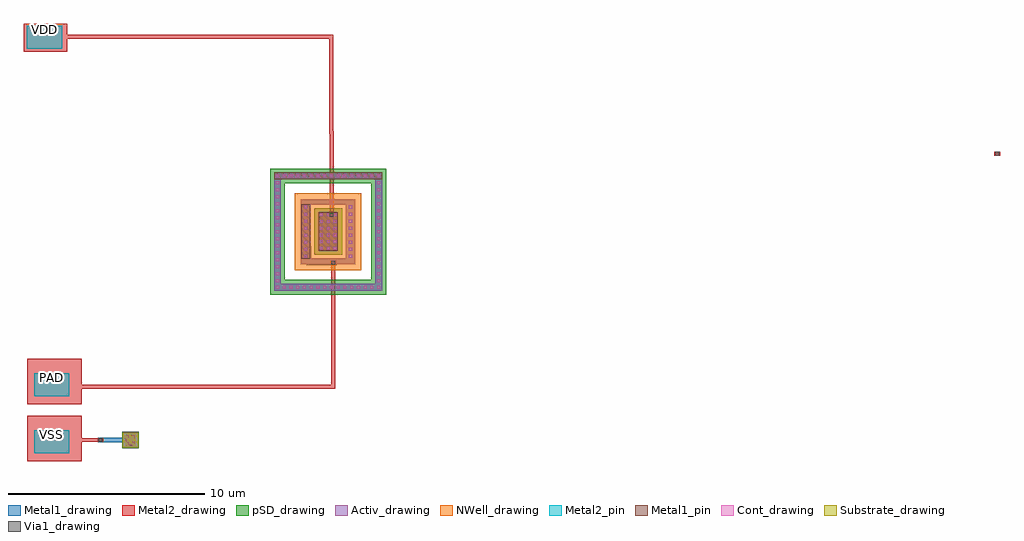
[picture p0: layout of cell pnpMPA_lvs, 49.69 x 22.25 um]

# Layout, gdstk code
import gdstk
lib = gdstk.Library(unit=1e-6, precision=1e-09)
def R(c, l, rs):  # rectangles x0, y0, x1, y1
    for r in rs: c.add(gdstk.rectangle(r[:2], r[2:], *l))
def A(c, l, x, y, w, h, nx, ny, dx, dy):  # array of equal rectangles
    R(c, l, [(x+i*dx, y+j*dy, x+i*dx+w, y+j*dy+h) for i in range(nx) for j in range(ny)])
def P(c, l, *ps):  # polygons
    for p in ps: c.add(gdstk.Polygon(p, *l))
Activ_drawing = (1, 0)
Cont_drawing = (6, 0)
Metal1_drawing = (8, 0)
Metal1_pin = (8, 2)
Metal2_drawing = (10, 0)
Metal2_pin = (10, 2)
pSD_drawing = (14, 0)
Via1_drawing = (19, 0)
NWell_drawing = (31, 0)
Substrate_drawing = (40, 0)

via = lib.new_cell('Via')
R(via, Metal1_drawing, [(-0.145,-0.125,0.145,0.125)])
R(via, Metal2_drawing, [(-0.145,-0.1,0.145,0.1)])
R(via, Via1_drawing, [(-0.095,-0.095,0.095,0.095)])

ptap1 = lib.new_cell('ptap1')
R(ptap1, Activ_drawing, [(0,0,0.78,0.78)])
R(ptap1, Cont_drawing, [(0.14,0.14,0.3,0.3), (0.48,0.14,0.64,0.3), (0.14,0.48,0.3,0.64), (0.48,0.48,0.64,0.64)])
R(ptap1, Metal1_drawing, [(0.14,0.09,0.64,0.69), (0.14,0.14,0.64,0.64)])
R(ptap1, Metal1_pin, [(0.14,0.14,0.64,0.64)])
R(ptap1, pSD_drawing, [(-0.03,-0.03,0.81,0.81)])
R(ptap1, Substrate_drawing, [(0,0,0.78,0.78)])
ptap1.add(gdstk.Label('sub!', (0.39,0.01), layer=63, texttype=0))
ptap1.add(gdstk.Label('sub!', (0.39,0.01), layer=40, texttype=0))

via_6 = lib.new_cell('Via$6')
R(via_6, Metal1_drawing, [(-0.145,-0.105,0.145,0.105)])
R(via_6, Metal2_drawing, [(-0.145,-0.1,0.145,0.1)])
R(via_6, Via1_drawing, [(-0.095,-0.095,0.095,0.095)])

via_1 = lib.new_cell('Via$1')
R(via_1, Metal1_drawing, [(-0.145,-0.105,0.145,0.105)])
R(via_1, Metal2_drawing, [(-0.145,-0.1,0.145,0.1)])
R(via_1, Via1_drawing, [(-0.095,-0.095,0.095,0.095)])

pnpmpa = lib.new_cell('pnpMPA')
R(pnpmpa, Activ_drawing, [(-0.5,-1,0.5,1)])
P(pnpmpa, Activ_drawing, [(-1.39,-1.65),(-1.39,1.36),(-0.89,1.36),(-0.89,-1.36),(0.89,-1.36),(0.89,1.36),(-1.39,1.36),(-1.39,1.65),(1.39,1.65),(1.39,-1.65)],
  [(-2.75,-3.01),(-2.75,2.66),(-2.4,2.66),(-2.4,-2.66),(2.4,-2.66),(2.4,2.66),(-2.75,2.66),(-2.75,3.01),(2.75,3.01),(2.75,-3.01)])
A(pnpmpa, Cont_drawing, -2.315, -2.915, 0.16, 0.16, 3, 2, 0.345, 5.67)
A(pnpmpa, Cont_drawing, -1.285, -2.915, 0.16, 0.16, 3, 2, 0.345, 5.67)
A(pnpmpa, Cont_drawing, -0.255, -2.915, 0.16, 0.16, 3, 2, 0.345, 5.67)
A(pnpmpa, Cont_drawing, 0.775, -2.915, 0.16, 0.16, 3, 2, 0.345, 5.67)
A(pnpmpa, Cont_drawing, 1.805, -2.915, 0.16, 0.16, 3, 2, 0.345, 5.67)
A(pnpmpa, Cont_drawing, -2.655, -2.575, 0.16, 0.16, 1, 4, 0, 0.355)
A(pnpmpa, Cont_drawing, 2.495, -2.575, 0.16, 0.16, 1, 4, 0, 0.355)
A(pnpmpa, Cont_drawing, -1.22, -1.33, 0.16, 0.16, 1, 3, 0, 0.355)
A(pnpmpa, Cont_drawing, 1.06, -1.33, 0.16, 0.16, 1, 3, 0, 0.355)
A(pnpmpa, Cont_drawing, -2.655, -1.15, 0.16, 0.16, 1, 3, 0, 0.355)
A(pnpmpa, Cont_drawing, 2.495, -1.15, 0.16, 0.16, 1, 3, 0, 0.355)
A(pnpmpa, Cont_drawing, -0.43, -0.93, 0.16, 0.16, 3, 6, 0.35, 0.34)
A(pnpmpa, Cont_drawing, -2.655, -0.08, 0.16, 0.16, 1, 4, 0, 0.355)
A(pnpmpa, Cont_drawing, 2.495, -0.08, 0.16, 0.16, 1, 4, 0, 0.355)
A(pnpmpa, Cont_drawing, -2.655, 1.345, 0.16, 0.16, 1, 3, 0, 0.355)
A(pnpmpa, Cont_drawing, 2.495, 1.345, 0.16, 0.16, 1, 3, 0, 0.355)
R(pnpmpa, Cont_drawing, [(-2.655,-2.915,-2.495,-2.755), (-1.22,-0.26,-1.06,-0.1), (1.06,-0.26,1.22,-0.1), (-1.22,0.095,-1.06,0.255), (1.06,0.095,1.22,0.255), (-1.22,0.455,-1.06,0.615), (1.06,0.455,1.22,0.615), (-1.22,0.81,-1.06,0.97), (1.06,0.81,1.22,0.97), (-1.22,1.17,-1.06,1.33), (1.06,1.17,1.22,1.33), (-2.655,2.415,-2.495,2.575), (2.495,2.415,2.655,2.575), (-2.655,2.755,-2.495,2.915)])
R(pnpmpa, Metal1_drawing, [(-2.75,-3.01,2.75,-2.66), (-2.75,-3.01,2.75,-2.66), (-2.75,-2.66,-2.4,2.66), (-2.75,-2.66,-2.4,2.66), (2.4,-2.66,2.75,2.66), (2.4,-2.66,2.75,2.66), (-1.37,-1.38,-0.91,1.38), (-1.37,-1.38,-0.91,1.38), (0.91,-1.38,1.37,1.38), (0.91,-1.38,1.37,1.38), (-0.48,-0.98,0.48,0.98), (-0.48,-0.98,0.48,0.98), (-2.75,2.66,2.75,3.01), (-2.75,2.66,2.75,3.01)])
P(pnpmpa, Metal1_drawing, [(-1.37,-1.63),(-1.37,1.38),(-0.91,1.38),(-0.91,-1.38),(0.91,-1.38),(0.91,1.38),(-1.37,1.38),(-1.37,1.63),(1.37,1.63),(1.37,-1.63)])
R(pnpmpa, Metal1_pin, [(-1.37,-1.38,-0.91,1.38), (-0.48,-0.98,0.48,0.98), (-2.75,2.66,2.75,3.01)])
R(pnpmpa, pSD_drawing, [(-0.71,-1.18,0.71,1.18)])
P(pnpmpa, pSD_drawing, [(-2.95,-3.21),(-2.95,2.46),(-2.2,2.46),(-2.2,-2.46),(2.2,-2.46),(2.2,2.46),(-2.95,2.46),(-2.95,3.21),(2.95,3.21),(2.95,-3.21)])
R(pnpmpa, NWell_drawing, [(-1.7,-1.96,1.7,1.96)])
pnpmpa.add(gdstk.Label('PLUS', (0,0), layer=63, texttype=0))
pnpmpa.add(gdstk.Label('MINUS', (-1.14,0), layer=63, texttype=0))
pnpmpa.add(gdstk.Label('pnpMPA', (0,-2.21), layer=63, texttype=0))
pnpmpa.add(gdstk.Label('TIE', (0,2.835), layer=63, texttype=0))

pnpmpa_lvs = lib.new_cell('pnpMPA_lvs')
R(pnpmpa_lvs, Metal2_drawing, [(183.75,11.88,186.51,14.19), (183.75,14.78,186.51,17.09), (183.58,32.72,185.78,34.13)])
R(pnpmpa_lvs, Metal2_pin, [(184.09,12.27,185.89,13.45), (184.09,15.17,185.89,16.35), (183.73,32.87,185.53,34.05)])
pnpmpa_lvs.add(gdstk.FlexPath([(199.24,24.41),(199.24,23.74)], 0.25, ends="flush", simple_path=True, layer=8, datatype=0))  # Metal1_drawing
pnpmpa_lvs.add(gdstk.FlexPath([(198.09,22.81),(198.09,21.98),(199.49,21.98)], 0.25, ends="flush", simple_path=True, layer=8, datatype=0))  # Metal1_drawing
pnpmpa_lvs.add(gdstk.FlexPath([(189.03,12.95),(187.47,12.95)], 0.25, ends="flush", simple_path=True, layer=8, datatype=0))  # Metal1_drawing
pnpmpa_lvs.add(gdstk.FlexPath([(199.24,28.66),(199.24,24.41)], 0.2, ends="flush", simple_path=True, layer=10, datatype=0))  # Metal2_drawing
pnpmpa_lvs.add(gdstk.FlexPath([(199.32,21.98),(199.32,18.6)], 0.2, ends="flush", simple_path=True, layer=10, datatype=0))  # Metal2_drawing
pnpmpa_lvs.add(gdstk.FlexPath([(187.47,12.95),(186.11,12.95)], 0.2, ends="flush", simple_path=True, layer=10, datatype=0))  # Metal2_drawing
pnpmpa_lvs.add(gdstk.FlexPath([(185.32,33.47),(199.23,33.47),(199.23,28.55)], 0.2, ends="flush", simple_path=True, layer=10, datatype=0))  # Metal2_drawing
pnpmpa_lvs.add(gdstk.FlexPath([(199.33,18.69),(199.33,15.66),(185.72,15.66)], 0.2, ends="flush", simple_path=True, layer=10, datatype=0))  # Metal2_drawing
pnpmpa_lvs.add(gdstk.Reference(via, (187.47,12.95)))
pnpmpa_lvs.add(gdstk.Reference(ptap1, (188.61,12.55)))
pnpmpa_lvs.add(gdstk.Reference(via_6, (199.24,24.41)))
pnpmpa_lvs.add(gdstk.Reference(via_6, (233.12,27.52)))
pnpmpa_lvs.add(gdstk.Reference(via_1, (199.32,21.98)))
pnpmpa_lvs.add(gdstk.Reference(pnpmpa, (199.06,23.56)))
pnpmpa_lvs.add(gdstk.Label('PAD', (184.98,16.13), layer=10, texttype=25))
pnpmpa_lvs.add(gdstk.Label('VSS', (184.98,13.23), layer=10, texttype=25))
pnpmpa_lvs.add(gdstk.Label('VDD', (184.62,33.83), layer=10, texttype=25))

lib.write_gds('pnpMPA_lvs.gds')
